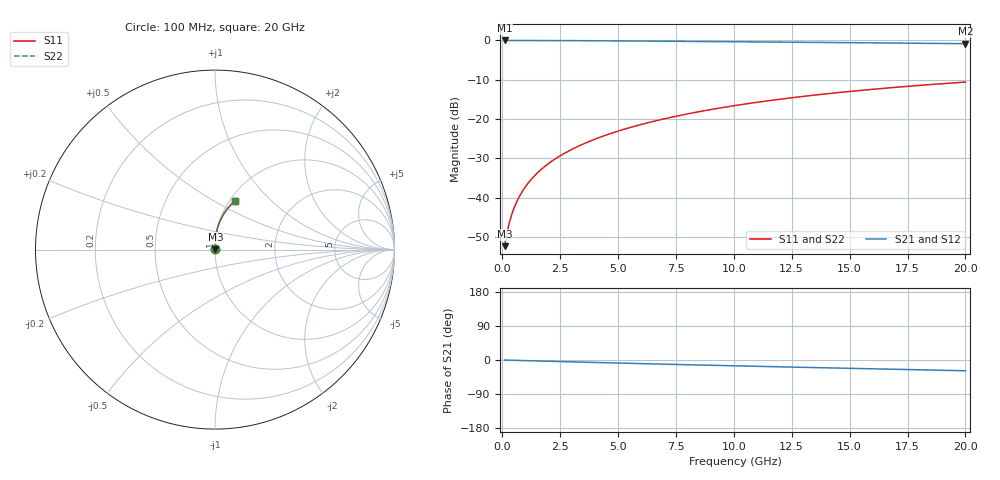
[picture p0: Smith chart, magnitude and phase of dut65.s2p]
! Touchstone file exported from HFSS 2024.1.0
!  File:  C:/UserFiles/LocalFiles/RDL_TSV_Batchsim/temp_RDL_bottom_65_1778693592.aedt
!  Generated:  01:35:59 AM May 14, 2026
!  Design:  RDL_bottom
!  Project:  temp_RDL_bottom_65_1778693592
!  Setup:  Setup1
!  Solution:  Sweep
! Variables:
!  dtsv = 10.80580581um
!  hbump = 3um
!  htsv = 79.46um
!  ldown = 361.05um
!  lrdl = 100um
!  p = 40
!  p1 = 54.36um
!  rhole = 1um
!  t = 450um
!  tdown = 3.33um
!  trdl = 3.915915916um
!  wdown = 22.51um
!  wrdl = 20um
# GHz S MA R 50.000000
! Terminal data exported
! Port[1] = RDL1_T1
! Port[2] = RDL1_T2
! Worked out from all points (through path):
!   200 points, 100 MHz to 20 GHz, reference 50 ohm
!   highest |S21| = -0.02 dB at 100 MHz (marker M1); lowest = -0.8 dB at 20 GHz (marker M2)
!   group delay of S21, straight-line fit = 3.91 ps
!   lowest |S11| = -52.3 dB at 100 MHz (marker M3), VSWR 1.00, Z = 50.2 + j0.147 ohm
!   |S11| at or under -10 dB: start of sweep to end of sweep
!   |S22| runs from -52.3 to -10.6 dB; largest |S21 - S12| = 3e-15
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0.1  0.002427 37.2  0.9981 -0.2  0.9981 -0.2  0.002427 37.2
! Gamma 0 0 0 0
! Port Impedance 50 0 50 0
0.2  0.003525 55.2  0.998 -0.3  0.998 -0.3  0.003525 55.2
0.3  0.004761 63.9  0.9979 -0.5  0.9979 -0.5  0.004761 63.9
0.4  0.006028 68.9  0.9977 -0.7  0.9977 -0.7  0.006028 68.9
0.5  0.007306 72.3  0.9976 -0.8  0.9976 -0.8  0.007306 72.3
0.6  0.008592 74.7  0.9975 -1.0  0.9975 -1.0  0.008592 74.7
0.8  0.01119 78.0  0.9973 -1.3  0.9973 -1.3  0.01119 78.0
1.1  0.01515 81.0  0.9969 -1.8  0.9969 -1.8  0.01515 81.0
1.5  0.0205 83.2  0.9963 -2.5  0.9963 -2.5  0.0205 83.2
1.8  0.02456 84.2  0.9958 -3.0  0.9958 -3.0  0.02456 84.2
2.1  0.02866 85.0  0.9951 -3.5  0.9951 -3.5  0.02866 85.0
2.7  0.03698 85.9  0.9936 -4.5  0.9936 -4.5  0.03698 85.9
3.5  0.04831 86.4  0.9911 -5.7  0.9911 -5.7  0.04831 86.4
4.2  0.05846 86.4  0.9885 -6.8  0.9885 -6.8  0.05846 86.4
5  0.07031 86.2  0.9853 -8.1  0.9853 -8.1  0.07031 86.2
5.9  0.08391 85.7  0.9814 -9.4  0.9814 -9.4  0.08391 85.7
6.8  0.09774 85.0  0.9772 -10.8  0.9772 -10.8  0.09774 85.0
8.4  0.1227 83.3  0.9694 -13.1  0.9694 -13.1  0.1227 83.3
10.1  0.1494 81.1  0.9609 -15.5  0.9609 -15.5  0.1494 81.1
13.4  0.2004 76.6  0.9439 -19.9  0.9439 -19.9  0.2004 76.6
16.7  0.2493 72.0  0.9265 -24.2  0.9265 -24.2  0.2493 72.0
20  0.2952 67.5  0.9085 -28.4  0.9085 -28.4  0.2952 67.5
